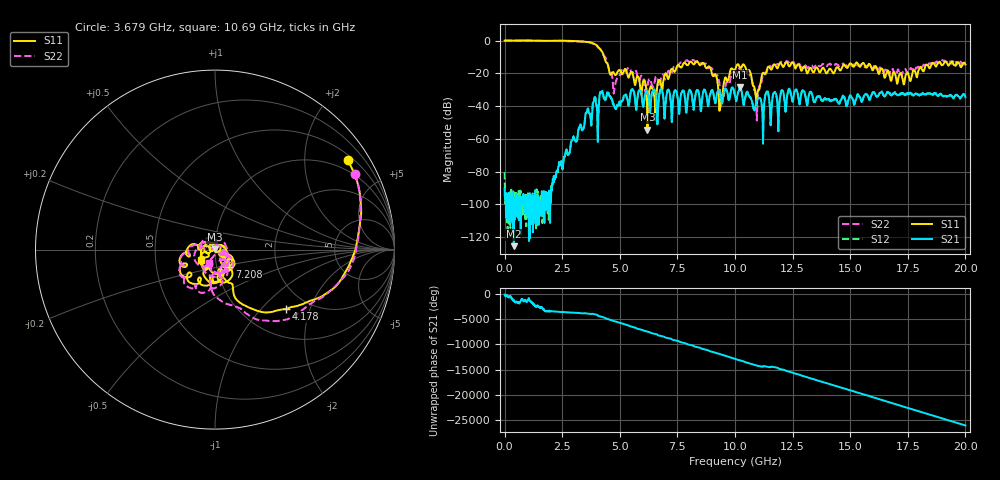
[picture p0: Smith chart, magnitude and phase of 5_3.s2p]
#  HZ  S  RI  R  50.00
! Rohde & Schwarz Vector Network Analyzer
! Rohde-Schwarz,ZNB20-2Port,1311601062102128,3.60
! Created: UTC 4/29/2024, 2:53:33 PM
! freq[Hz]  re:S11  im:S11  re:S21  im:S21  re:S12  im:S12  re:S22  im:S22
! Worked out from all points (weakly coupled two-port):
!   2007 points, 100 kHz to 20 GHz, reference 50 ohm
!   highest |S21| = -28.51 dB at 10.22 GHz (marker M1); lowest = -125.6 dB at 398.9 MHz (marker M2)
!   lowest |S11| = -54.4 dB at 6.201 GHz (marker M3), VSWR 1.00, Z = 49.9 + j0.142 ohm
!   |S11| at or under -10 dB: 4.324 GHz to end of sweep
!   |S22| runs from -48.8 to 0.1 dB; largest |S21 - S12| = 0.002
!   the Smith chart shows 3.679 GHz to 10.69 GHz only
!   S11 on the Smith chart (normalised r, x): 3.679 GHz: 0.64, +3.14; 4.178 GHz: 1.55, -1.39; 7.208 GHz: 1.15, -0.23; 10.69 GHz: 0.85, -0.10
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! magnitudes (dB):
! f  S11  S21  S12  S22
! 100 kHz  0.0  -90.4  -80.4  0.1
! 398.9 MHz  0.0  -125.6  -92.9  0.0
! 2.223 GHz  -0.1  -82.7  -83.2  -0.3
! 3.34 GHz  -0.6  -54.0  -53.7  -0.6
! 3.679 GHz  -1.0  -44.7  -44.6  -1.1
! 4.178 GHz  -5.8  -31.9  -31.9  -5.7
! 4.766 GHz  -20.3  -40.4  -40.4  -29.7
! 5.374 GHz  -22.5  -39.7  -39.7  -16.4
! 6.201 GHz  -54.4  -32.3  -32.4  -27.8
! 6.67 GHz  -24.7  -38.9  -38.9  -25.5
! 7.208 GHz  -18.0  -36.8  -36.9  -20.0
! 8.624 GHz  -13.7  -31.3  -31.3  -14.2
! 9.153 GHz  -20.6  -38.1  -38.2  -21.9
! 9.382 GHz  -36.3  -34.2  -34.2  -35.1
! 10 GHz  -18.1  -33.6  -33.5  -20.2
! 10.22 GHz  -16.5  -28.5  -28.5  -17.4
! 10.69 GHz  -20.4  -35.5  -35.5  -21.6
! 10.93 GHz  -37.6  -37.5  -37.5  -37.7
! 11.71 GHz  -14.6  -31.8  -31.8  -14.1
! 13.34 GHz  -18.0  -32.7  -32.6  -15.3
! 16.67 GHz  -19.1  -31.8  -31.8  -20.5
! 20 GHz  -14.6  -34.6  -34.6  -14.3
